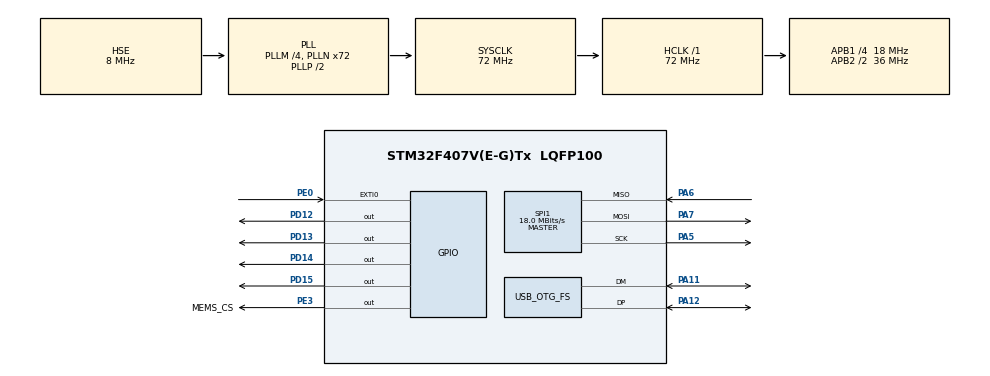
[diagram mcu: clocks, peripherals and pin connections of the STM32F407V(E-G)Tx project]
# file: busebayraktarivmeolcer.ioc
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Mcu.Family=STM32F4
Mcu.Name=STM32F407V(E-G)Tx
Mcu.Package=LQFP100
NVIC.EXTI0_IRQn=true\:0\:0\:false\:false\:true\:true\:true\:true
NVIC.OTG_FS_IRQn=true\:0\:0\:false\:false\:true\:true\:true\:true
NVIC.PriorityGroup=NVIC_PRIORITYGROUP_0
PA11.Mode=Device_Only
PA11.Signal=USB_OTG_FS_DM
PA12.Mode=Device_Only
PA12.Signal=USB_OTG_FS_DP
PA5.Mode=Full_Duplex_Master
PA5.Signal=SPI1_SCK
PA6.Mode=Full_Duplex_Master
PA6.Signal=SPI1_MISO
PA7.Mode=Full_Duplex_Master
PA7.Signal=SPI1_MOSI
PD12.Signal=GPIO_Output
PD13.Signal=GPIO_Output
PD14.Signal=GPIO_Output
PD15.Signal=GPIO_Output
PE0.Signal=GPXTI0
PE3.GPIO_Label=MEMS_CS
PE3.Signal=GPIO_Output
PH0-OSC_IN.Mode=HSE-External-Oscillator
PH0-OSC_IN.Signal=RCC_OSC_IN
PH1-OSC_OUT.Mode=HSE-External-Oscillator
PH1-OSC_OUT.Signal=RCC_OSC_OUT
ProjectManager.HeapSize=0x200
ProjectManager.StackSize=0x400
ProjectManager.TargetToolchain=STM32CubeIDE
RCC.48MHZClocksFreq_Value=48000000
RCC.AHBFreq_Value=72000000
RCC.APB1CLKDivider=RCC_HCLK_DIV4
RCC.APB1Freq_Value=18000000
RCC.APB1TimFreq_Value=36000000
RCC.APB2CLKDivider=RCC_HCLK_DIV2
RCC.APB2Freq_Value=36000000
RCC.APB2TimFreq_Value=72000000
RCC.CortexFreq_Value=72000000
RCC.HCLKFreq_Value=72000000
RCC.HSE_VALUE=8000000
RCC.HSI_VALUE=16000000
RCC.PLLM=4
RCC.PLLN=72
RCC.PLLQ=3
RCC.SYSCLKFreq_VALUE=72000000
RCC.SYSCLKSource=RCC_SYSCLKSOURCE_PLLCLK
RCC.VCOOutputFreq_Value=144000000
SPI1.BaudRatePrescaler=SPI_BAUDRATEPRESCALER_2
SPI1.CalculateBaudRate=18.0 MBits/s
SPI1.Direction=SPI_DIRECTION_2LINES
SPI1.Mode=SPI_MODE_MASTER
SPI1.VirtualType=VM_MASTER
USB_DEVICE.CLASS_NAME_FS=CDC
USB_DEVICE.VirtualMode-CDC_FS=Cdc
USB_DEVICE.VirtualModeFS=Cdc_FS
USB_OTG_FS.VirtualMode=Device_Only
VP_USB_DEVICE_VS_USB_DEVICE_CDC_FS.Mode=CDC_FS
board=STM32F407G-DISC1

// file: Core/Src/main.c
/* USER CODE BEGIN Header */
/**
  ******************************************************************************
  * @file           : main.c
  * @brief          : Main program body
  ******************************************************************************
  * @attention
  *
  * Copyright (c) 2022 STMicroelectronics.
  * All rights reserved.
  *
  * This software is licensed under terms that can be found in the LICENSE file
  * in the root directory of this software component.
  * If no LICENSE file comes with this software, it is provided AS-IS.
  *
  ******************************************************************************
  */
/* USER CODE END Header */
#include "main.h"
#include "usb_device.h"
#include <string.h>
/* USER CODE BEGIN Includes */
#include "MY_LIS3DSH.h"
/* USER CODE END Includes */

SPI_HandleTypeDef hspi1;

/* USER CODE BEGIN PV */
/* Private variables ---------------------------------------------------------*/

/* USER CODE END PV */

void SystemClock_Config(void);
static void MX_GPIO_Init(void);
static void MX_SPI1_Init(void);
/* USER CODE BEGIN PFP */
/* Private function prototypes -----------------------------------------------*/

/* USER CODE END PFP */

/* USER CODE BEGIN 0 */
LIS3DSH_DataScaled myData;
char temp_arr[26];
char all_arr[118];
uint8_t drdyFlag=0;
/* USER CODE END 0 */

int main(void)
{
  /* USER CODE BEGIN 1 */
	LIS3DSH_InitTypeDef myAccConfigDef;
  /* USER CODE END 1 */

  /* MCU Configuration--------------------------------------------------------*/

  /* Reset of all peripherals, Initializes the Flash interface and the Systick. */
  HAL_Init();

  /* Configure the system clock */
  SystemClock_Config();

  /* Initialize all configured peripherals */
  MX_GPIO_Init();
  MX_SPI1_Init();
  MX_USB_DEVICE_Init();
  /* USER CODE BEGIN 2 */
	myAccConfigDef.dataRate = LIS3DSH_DATARATE_800;
	myAccConfigDef.fullScale = LIS3DSH_FULLSCALE_4;
	myAccConfigDef.antiAliasingBW = LIS3DSH_FILTER_BW_50;
	myAccConfigDef.enableAxes = LIS3DSH_XYZ_ENABLE;
	myAccConfigDef.interruptEnable = true;
	LIS3DSH_Init(&hspi1, &myAccConfigDef);

	LIS3DSH_X_calibrate(-1000.0, 980.0);
	LIS3DSH_Y_calibrate(-1020.0, 1040.0);
	LIS3DSH_Z_calibrate(-920.0, 1040.0);

  /* USER CODE END 2 */

  /* Infinite loop */
  while (1)
  {

    /* USER CODE BEGIN 3 */
		if(drdyFlag == 1) //when the data comes this part will be 1.
		{
			drdyFlag = 0; // we have prevented the code from entering the if block.
			myData = LIS3DSH_GetDataScaled(); // we saved the data comes from accelerometer
			HAL_GPIO_TogglePin(GPIOD, GPIO_PIN_15);
		snprintf(temp_arr,sizeof(temp_arr),"%f,",myData.x); // we saved the x element of my data in to temp_arr
		strcat(all_arr,temp_arr); // we put the x y z elements in a row. in this section, we put x at the beginning.
		memset(temp_arr,'\0',sizeof(temp_arr)); // we clear the temp array
		snprintf(temp_arr,sizeof(temp_arr),"%f,",myData.y); // we saved the y element of my data in to temp_arr
		strcat(all_arr,temp_arr); //we put y at the end of x
		memset(temp_arr,'\0',sizeof(temp_arr));// we clear the temp array
		snprintf(temp_arr,sizeof(temp_arr),"%f\n",myData.z);  // we saved the z element of my data in to temp_arr
		strcat(all_arr,temp_arr); // we put z at the end of y
		memset(temp_arr,'\0',sizeof(temp_arr));// we clear the temp array
		CDC_Transmit_FS(all_arr, strlen(all_arr)); // we send the all array to the host
		memset(all_arr,'\0',sizeof(all_arr));// we clear the all array
		}
  }
  /* USER CODE END 3 */
}

void SystemClock_Config(void)
{
  RCC_OscInitTypeDef RCC_OscInitStruct = {0};
  RCC_ClkInitTypeDef RCC_ClkInitStruct = {0};

  /** Configure the main internal regulator output voltage
  */
  __HAL_RCC_PWR_CLK_ENABLE();
  __HAL_PWR_VOLTAGESCALING_CONFIG(PWR_REGULATOR_VOLTAGE_SCALE1);

  /** Initializes the RCC Oscillators according to the specified parameters
  * in the RCC_OscInitTypeDef structure.
  */
  RCC_OscInitStruct.OscillatorType = RCC_OSCILLATORTYPE_HSE;
  RCC_OscInitStruct.HSEState = RCC_HSE_ON;
  RCC_OscInitStruct.PLL.PLLState = RCC_PLL_ON;
  RCC_OscInitStruct.PLL.PLLSource = RCC_PLLSOURCE_HSE;
  RCC_OscInitStruct.PLL.PLLM = 4;
  RCC_OscInitStruct.PLL.PLLN = 72;
  RCC_OscInitStruct.PLL.PLLP = RCC_PLLP_DIV2;
  RCC_OscInitStruct.PLL.PLLQ = 3;
  if (HAL_RCC_OscConfig(&RCC_OscInitStruct) != HAL_OK)
  {
    Error_Handler();
  }

  /** Initializes the CPU, AHB and APB buses clocks
  */
  RCC_ClkInitStruct.ClockType = RCC_CLOCKTYPE_HCLK|RCC_CLOCKTYPE_SYSCLK
                              |RCC_CLOCKTYPE_PCLK1|RCC_CLOCKTYPE_PCLK2;
  RCC_ClkInitStruct.SYSCLKSource = RCC_SYSCLKSOURCE_PLLCLK;
  RCC_ClkInitStruct.AHBCLKDivider = RCC_SYSCLK_DIV1;
  RCC_ClkInitStruct.APB1CLKDivider = RCC_HCLK_DIV4;
  RCC_ClkInitStruct.APB2CLKDivider = RCC_HCLK_DIV2;

  if (HAL_RCC_ClockConfig(&RCC_ClkInitStruct, FLASH_LATENCY_2) != HAL_OK)
  {
    Error_Handler();
  }
}

static void MX_SPI1_Init(void)
{

  /* SPI1 parameter configuration*/
  hspi1.Instance = SPI1;
  hspi1.Init.Mode = SPI_MODE_MASTER;
  hspi1.Init.Direction = SPI_DIRECTION_2LINES;
  hspi1.Init.DataSize = SPI_DATASIZE_8BIT;
  hspi1.Init.CLKPolarity = SPI_POLARITY_LOW;
  hspi1.Init.CLKPhase = SPI_PHASE_1EDGE;
  hspi1.Init.NSS = SPI_NSS_SOFT;
  hspi1.Init.BaudRatePrescaler = SPI_BAUDRATEPRESCALER_2;
  hspi1.Init.FirstBit = SPI_FIRSTBIT_MSB;
  hspi1.Init.TIMode = SPI_TIMODE_DISABLE;
  hspi1.Init.CRCCalculation = SPI_CRCCALCULATION_DISABLE;
  hspi1.Init.CRCPolynomial = 10;
  if (HAL_SPI_Init(&hspi1) != HAL_OK)
  {
    Error_Handler();
  }

}

static void MX_GPIO_Init(void)
{
  GPIO_InitTypeDef GPIO_InitStruct = {0};

  /* GPIO Ports Clock Enable */
  __HAL_RCC_GPIOE_CLK_ENABLE();
  __HAL_RCC_GPIOH_CLK_ENABLE();
  __HAL_RCC_GPIOA_CLK_ENABLE();
  __HAL_RCC_GPIOD_CLK_ENABLE();

  /*Configure GPIO pin Output Level */
  HAL_GPIO_WritePin(MEMS_CS_GPIO_Port, MEMS_CS_Pin, GPIO_PIN_RESET);

  /*Configure GPIO pin Output Level */
  HAL_GPIO_WritePin(GPIOD, GPIO_PIN_12|GPIO_PIN_13|GPIO_PIN_14|GPIO_PIN_15, GPIO_PIN_RESET);

  /*Configure GPIO pin : MEMS_CS_Pin */
  GPIO_InitStruct.Pin = MEMS_CS_Pin;
  GPIO_InitStruct.Mode = GPIO_MODE_OUTPUT_PP;
  GPIO_InitStruct.Pull = GPIO_NOPULL;
  GPIO_InitStruct.Speed = GPIO_SPEED_FREQ_LOW;
  HAL_GPIO_Init(MEMS_CS_GPIO_Port, &GPIO_InitStruct);

  /*Configure GPIO pins : PD12 PD13 PD14 PD15 */
  GPIO_InitStruct.Pin = GPIO_PIN_12|GPIO_PIN_13|GPIO_PIN_14|GPIO_PIN_15;
  GPIO_InitStruct.Mode = GPIO_MODE_OUTPUT_PP;
  GPIO_InitStruct.Pull = GPIO_NOPULL;
  GPIO_InitStruct.Speed = GPIO_SPEED_FREQ_LOW;
  HAL_GPIO_Init(GPIOD, &GPIO_InitStruct);

  /*Configure GPIO pin : PE0 */
  GPIO_InitStruct.Pin = GPIO_PIN_0;
  GPIO_InitStruct.Mode = GPIO_MODE_IT_RISING;
  GPIO_InitStruct.Pull = GPIO_NOPULL;
  HAL_GPIO_Init(GPIOE, &GPIO_InitStruct);

  /* EXTI interrupt init*/
  HAL_NVIC_SetPriority(EXTI0_IRQn, 0, 0);
  HAL_NVIC_EnableIRQ(EXTI0_IRQn);

}

/* USER CODE BEGIN 4 */
void HAL_GPIO_EXTI_Callback(uint16_t GPIO_Pin)
{
  /* Prevent unused argument(s) compilation warning */
  UNUSED(GPIO_Pin);
  /* NOTE: This function Should not be modified, when the callback is needed,
           the HAL_GPIO_EXTI_Callback could be implemented in the user file
   */

	drdyFlag = 1;
	HAL_GPIO_TogglePin(GPIOD, GPIO_PIN_14);
}
/* USER CODE END 4 */

void Error_Handler(void)
{
  while(1)
  {
  }
}
